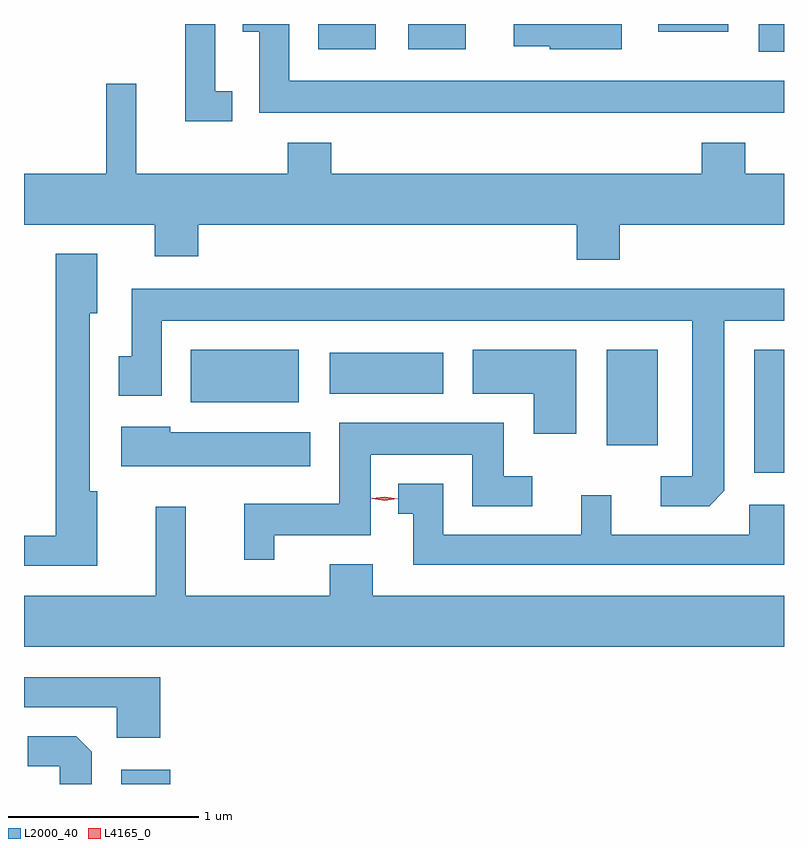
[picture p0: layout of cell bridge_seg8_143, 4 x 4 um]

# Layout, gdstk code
import gdstk
lib = gdstk.Library(unit=1e-6, precision=1e-09)
def R(c, l, rs):  # rectangles x0, y0, x1, y1
    for r in rs: c.add(gdstk.rectangle(r[:2], r[2:], *l))
def P(c, l, *ps):  # polygons
    for p in ps: c.add(gdstk.Polygon(p, *l))
L2000_40 = (2000, 40)
L4165_0 = (4165, 0)

bridge_seg8_143 = lib.new_cell('bridge_seg8_143')
R(bridge_seg8_143, L2000_40, [(1667.146,1811.273,1667.404,1811.349), (1670.476,1812.911,1670.633,1813.559), (1669.701,1813.056,1669.969,1813.559), (1667.511,1813.281,1668.079,1813.559), (1668.241,1813.326,1668.839,1813.544), (1670.501,1815.126,1670.633,1815.273), (1668.181,1815.141,1668.484,1815.273), (1668.656,1815.141,1668.959,1815.273), (1669.971,1815.231,1670.339,1815.273)])
P(bridge_seg8_143, L2000_40, [(1667.728,1814.919),(1667.639,1814.919),(1667.639,1815.273),(1667.481,1815.273),(1667.481,1814.761),(1667.728,1814.761)],
  [(1670.633,1814.974),(1668.029,1814.974),(1668.029,1815.273),(1667.783,1815.273),(1667.783,1815.231),(1667.871,1815.231),(1667.871,1814.806),(1670.633,1814.806)],
  [(1669.779,1815.273),(1669.211,1815.273),(1669.211,1815.156),(1669.4,1815.156),(1669.4,1815.141),(1669.779,1815.141)],
  [(1669.769,1814.216),(1670.633,1814.216),(1670.633,1814.484),(1670.429,1814.484),(1670.429,1814.649),(1670.201,1814.649),(1670.201,1814.484),(1668.249,1814.484),(1668.249,1814.649),(1668.021,1814.649),(1668.021,1814.484),(1667.224,1814.484),(1667.224,1814.958),(1667.066,1814.958),(1667.066,1814.484),(1666.633,1814.484),(1666.633,1814.216),(1667.321,1814.216),(1667.321,1814.051),(1667.549,1814.051),(1667.549,1814.216),(1669.541,1814.216),(1669.541,1814.031),(1669.769,1814.031)],
  [(1667.019,1812.814),(1666.979,1812.814),(1666.979,1813.751),(1667.019,1813.751),(1667.019,1814.064),(1666.801,1814.064),(1666.801,1812.579),(1666.633,1812.579),(1666.633,1812.421),(1667.019,1812.421)],
  [(1670.319,1812.817),(1670.319,1813.711),(1670.633,1813.711),(1670.633,1813.879),(1667.201,1813.879),(1667.201,1813.524),(1667.131,1813.524),(1667.131,1813.316),(1667.359,1813.316),(1667.359,1813.711),(1670.151,1813.711),(1670.151,1812.894),(1669.983,1812.894),(1669.983,1812.736),(1670.239,1812.736)],
  [(1669.539,1813.559),(1668.996,1813.559),(1668.996,1813.326),(1669.316,1813.326),(1669.316,1813.116),(1669.539,1813.116)],
  [(1667.949,1812.581),(1668.459,1812.581),(1668.459,1813.006),(1668.991,1813.006),(1668.991,1812.736),(1669.308,1812.736),(1669.308,1812.894),(1669.159,1812.894),(1669.159,1813.174),(1668.291,1813.174),(1668.291,1812.749),(1667.791,1812.749),(1667.791,1812.453),(1667.949,1812.453)],
  [(1668.139,1813.124),(1667.404,1813.124),(1667.404,1813.154),(1667.146,1813.154),(1667.146,1812.946),(1668.139,1812.946)],
  [(1670.633,1812.744),(1670.451,1812.744),(1670.451,1812.584),(1669.724,1812.584),(1669.724,1812.793),(1669.566,1812.793),(1669.566,1812.584),(1668.839,1812.584),(1668.839,1812.854),(1668.603,1812.854),(1668.603,1812.696),(1668.681,1812.696),(1668.681,1812.426),(1670.633,1812.426)],
  [(1670.633,1812.264),(1668.469,1812.264),(1668.469,1812.429),(1668.241,1812.429),(1668.241,1812.264),(1667.484,1812.264),(1667.484,1812.733),(1667.326,1812.733),(1667.326,1812.264),(1666.633,1812.264),(1666.633,1811.996),(1670.633,1811.996)],
  [(1667.349,1811.834),(1666.633,1811.834),(1666.633,1811.676),(1667.121,1811.676),(1667.121,1811.516),(1667.349,1811.516)],
  [(1666.989,1811.444),(1666.909,1811.524),(1666.653,1811.524),(1666.653,1811.366),(1666.821,1811.366),(1666.821,1811.273),(1666.989,1811.273)])
P(bridge_seg8_143, L4165_0, [(1668.531,1812.765),(1668.462,1812.775),(1668.462,1812.775),(1668.462,1812.776),(1668.531,1812.785),(1668.601,1812.775),(1668.601,1812.775),(1668.601,1812.774)])

lib.write_gds('bridge_seg8_143.gds')
